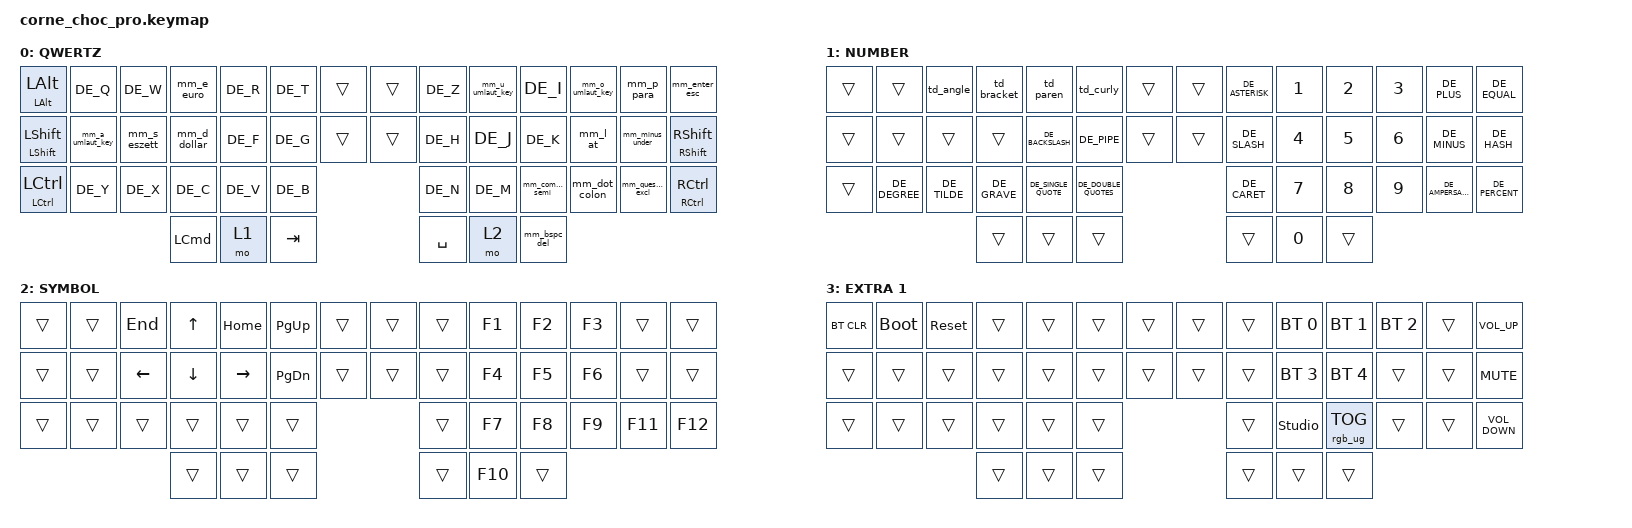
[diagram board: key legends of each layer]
/*
 * Copyright (c) 2020 The ZMK Contributors
 *
 * SPDX-License-Identifier: MIT
 */

#include <behaviors.dtsi>
#include <dt-bindings/zmk/bt.h>
#include <dt-bindings/zmk/keys.h>
#include <dt-bindings/zmk/rgb.h>
#include "keys_de.h"

// https://zmk.dev/docs/keymaps/list-of-keycodes#consumer-controls
// https://github.com/Dakes/zmk-config/blob/9ba19caeebd6c74502f16ab85ae02a5b663e20b0/config/keymap-german-rev3.h#L39

/ {
    chosen { zmk,physical-layout = &default_layout; };
};

/ {
    behaviors {
        ht_sticky: hold_tap_sticky {
            compatible = "zmk,behavior-hold-tap";
            #binding-cells = <2>;
            flavor = "tap-preferred";
            tapping-term-ms = <200>;
            quick-tap-ms = <175>;
            bindings = <&kp>, <&sk>;
        };

        mm_bspc_del: mod_morph_backspace_delete {
            compatible = "zmk,behavior-mod-morph";
            #binding-cells = <0>;
            bindings = <&kp BACKSPACE>, <&kp DELETE>;
            mods = <(MOD_LSFT|MOD_RSFT)>;
        };

        // German umlauts with proper shift support

        mm_a_umlaut: mod_morph_a_umlaut {
            compatible = "zmk,behavior-mod-morph";
            #binding-cells = <0>;
            bindings = <&kp DE_A_UMLAUT>, <&kp RS(DE_A_UMLAUT)>;
            mods = <(MOD_LSFT|MOD_RSFT)>;
        };

        mm_o_umlaut: mod_morph_o_umlaut {
            compatible = "zmk,behavior-mod-morph";
            #binding-cells = <0>;
            bindings = <&kp DE_O_UMLAUT>, <&kp RS(DE_O_UMLAUT)>;
            mods = <(MOD_LSFT|MOD_RSFT)>;
        };

        mm_u_umlaut: mod_morph_u_umlaut {
            compatible = "zmk,behavior-mod-morph";
            #binding-cells = <0>;
            bindings = <&kp DE_U_UMLAUT>, <&kp RS(DE_U_UMLAUT)>;
            mods = <(MOD_LSFT|MOD_RSFT)>;
        };

        mm_e_euro: mod_morph_e_euro {
            compatible = "zmk,behavior-mod-morph";
            #binding-cells = <0>;
            bindings = <&kp E>, <&kp DE_EURO>; // Apple ISO: € is AltGr+E
            mods = <(MOD_LALT)>;
            // E €
        };

        mm_d_dollar: mod_morph_d_dollar {
            compatible = "zmk,behavior-mod-morph";
            #binding-cells = <0>;
            bindings = <&kp D>, <&kp DOLLAR>;

            mods = <(MOD_LALT)>;

            // D $
        };

        mm_p_para: mod_morph_p_para {
            compatible = "zmk,behavior-mod-morph";
            #binding-cells = <0>;
            bindings = <&kp P>, <&kp DE_SECTION>;
            mods = <(MOD_LALT)>;
            // P §
        };

        mm_s_eszett: mod_morph_s_eszett {
            compatible = "zmk,behavior-mod-morph";
            #binding-cells = <0>;
            bindings = <&kp S>, <&kp DE_SZ>;
            mods = <(MOD_LALT)>;
            // S ß
        };

        mm_l_at: mod_morph_l_at {
            compatible = "zmk,behavior-mod-morph";
            #binding-cells = <0>;
            bindings = <&kp L>, <&kp DE_AT>; // Apple ISO: @ is AltGr+L
            mods = <(MOD_LALT)>;
            // L @
        };

        mm_a_umlaut_key: mod_morph_a_umlaut_key {
            compatible = "zmk,behavior-mod-morph";
            #binding-cells = <0>;
            bindings = <&kp A>, <&mm_a_umlaut>;
            mods = <(MOD_LALT)>;
            // A ä/Ä
        };

        mm_o_umlaut_key: mod_morph_o_umlaut_key {
            compatible = "zmk,behavior-mod-morph";
            #binding-cells = <0>;
            bindings = <&kp O>, <&mm_o_umlaut>;
            mods = <(MOD_LALT)>;
            // O ö/Ö
        };

        mm_u_umlaut_key: mod_morph_u_umlaut_key {
            compatible = "zmk,behavior-mod-morph";
            #binding-cells = <0>;
            bindings = <&kp U>, <&mm_u_umlaut>;
            mods = <(MOD_LALT)>;
            // U ü/Ü
        };

        mm_enter_esc: mod_morph_enter_esc {
            compatible = "zmk,behavior-mod-morph";
            #binding-cells = <0>;
            bindings = <&kp ENTER>, <&kp ESCAPE>;
            mods = <(MOD_LSFT|MOD_RSFT)>;
        };

        mm_comma_semi: mod_morph_comma_semi {
            compatible = "zmk,behavior-mod-morph";
            #binding-cells = <0>;
            bindings = <&kp DE_COMMA>, <&kp DE_SEMICOLON>;
            mods = <(MOD_LSFT|MOD_RSFT)>;
        };

        mm_dot_colon: mod_morph_dot_colon {
            compatible = "zmk,behavior-mod-morph";
            #binding-cells = <0>;
            bindings = <&kp DE_DOT>, <&kp DE_COLON>;
            mods = <(MOD_LSFT|MOD_RSFT)>;
        };

        mm_minus_under: mod_morph_minus_under {
            compatible = "zmk,behavior-mod-morph";
            #binding-cells = <0>;
            bindings = <&kp DE_MINUS>, <&kp DE_UNDER>;
            mods = <(MOD_LSFT|MOD_RSFT)>;
        };

        td_curly: tap_dance_curly {
            compatible = "zmk,behavior-tap-dance";
            #binding-cells = <0>;
            tapping-term-ms = <200>;
            bindings = <&kp RA(N8)>, <&kp RA(N9)>;
        };

        td_paren: tap_dance_paren {
            compatible = "zmk,behavior-tap-dance";
            #binding-cells = <0>;
            tapping-term-ms = <200>;
            bindings = <&kp DE_LEFT_PARENTHESIS>, <&kp DE_RIGHT_PARENTHESIS>; // ( = LS(N8), ) = LS(N9)
        };

        td_bracket: tap_dance_bracket {
            compatible = "zmk,behavior-tap-dance";
            #binding-cells = <0>;
            tapping-term-ms = <200>;
            bindings = <&kp RA(N5)>, <&kp RA(N6)>;
        };

        td_angle: tap_dance_angle {
            compatible = "zmk,behavior-tap-dance";
            #binding-cells = <0>;
            tapping-term-ms = <200>;
            bindings = <&kp DE_LESS_THAN>, <&kp DE_GREATER_THAN>;
        };

        mm_question_excl: mod_morph_question_excl {
            compatible = "zmk,behavior-mod-morph";
            #binding-cells = <0>;
            bindings = <&kp DE_QMARK>, <&kp DE_EXCL>;
            mods = <(MOD_LSFT|MOD_RSFT)>;
        };

    };

    conditional_layers {
        compatible = "zmk,conditional-layers";

        tri_layer {
            if-layers = <1 2>;
            then-layer = <3>;
        };
    };

    macros {
    };

    keymap {
        compatible = "zmk,keymap";

        default_layer {
            display-name = "QWERTZ";
            bindings = <
&ht_sticky LALT LALT      &kp DE_Q             &kp DE_W         &mm_e_euro  &kp DE_R  &kp DE_T    &trans  &trans  &kp DE_Z      &mm_u_umlaut_key  &kp DE_I           &mm_o_umlaut_key  &mm_p_para         &mm_enter_esc
&ht_sticky LSHIFT LSHIFT  &mm_a_umlaut_key  &mm_s_eszett  &mm_d_dollar       &kp DE_F  &kp DE_G    &trans  &trans  &kp DE_H      &kp DE_J             &kp DE_K           &mm_l_at          &mm_minus_under    &ht_sticky RSHIFT RSHIFT
&ht_sticky LCTRL LCTRL    &kp DE_Y             &kp DE_X         &kp DE_C       &kp DE_V  &kp DE_B                    &kp DE_N      &kp DE_M             &mm_comma_semi  &mm_dot_colon     &mm_question_excl  &ht_sticky RCTRL RCTRL
                                                          &kp LCMD    &mo 1  &kp TAB                  &kp SPACE  &mo 2             &mm_bspc_del
            >;
        };

        lower_layer {
            display-name = "NUMBER";
            bindings = <
&trans  &trans  &td_angle   &td_bracket  &td_paren  &td_curly  &trans  &trans  &kp DE_ASTERISK  &kp N1  &kp N2  &kp N3  &kp DE_PLUS       &kp DE_EQUAL
&trans          &trans  &trans  &trans     &kp DE_BACKSLASH   &kp DE_PIPE   &trans  &trans  &kp DE_SLASH   &kp N4  &kp N5  &kp N6  &kp DE_MINUS      &kp DE_HASH
&trans          &kp DE_DEGREE  &kp DE_TILDE   &kp DE_GRAVE    &kp DE_SINGLE_QUOTE    &kp DE_DOUBLE_QUOTES                    &kp DE_CARET  &kp N7  &kp N8  &kp N9  &kp DE_AMPERSAND  &kp DE_PERCENT
                                    &trans       &trans     &trans                     &trans     &kp N0  &trans
            >;
        };

        raise_layer {
            display-name = "SYMBOL";
            bindings = <
&trans  &trans  &kp END          &kp UP    &kp HOME          &kp PG_UP  &trans  &trans  &trans  &kp F1   &kp F2  &kp F3  &trans   &trans
&trans  &trans  &kp LEFT  &kp DOWN  &kp RIGHT  &kp PG_DN  &trans  &trans  &trans  &kp F4   &kp F5  &kp F6  &trans   &trans
&trans  &trans  &trans          &trans          &trans          &trans                  &trans  &kp F7   &kp F8  &kp F9  &kp F11  &kp F12
                                &trans          &trans          &trans                  &trans  &kp F10  &trans
            >;
        };

        extra_layer_1 {
            display-name = "EXTRA 1";
            bindings = <
&bt BT_CLR  &bootloader  &sys_reset  &trans  &trans  &trans  &trans  &trans  &trans  &bt BT_SEL 0    &bt BT_SEL 1     &bt BT_SEL 2  &trans  &kp C_VOLUME_UP
&trans      &trans       &trans      &trans  &trans  &trans  &trans  &trans  &trans  &bt BT_SEL 3    &bt BT_SEL 4     &trans        &trans  &kp C_MUTE
&trans      &trans       &trans      &trans  &trans  &trans                  &trans  &studio_unlock  &rgb_ug RGB_TOG  &trans        &trans  &kp C_VOLUME_DOWN
                                     &trans  &trans  &trans                  &trans  &trans          &trans
            >;
        };
    };
};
